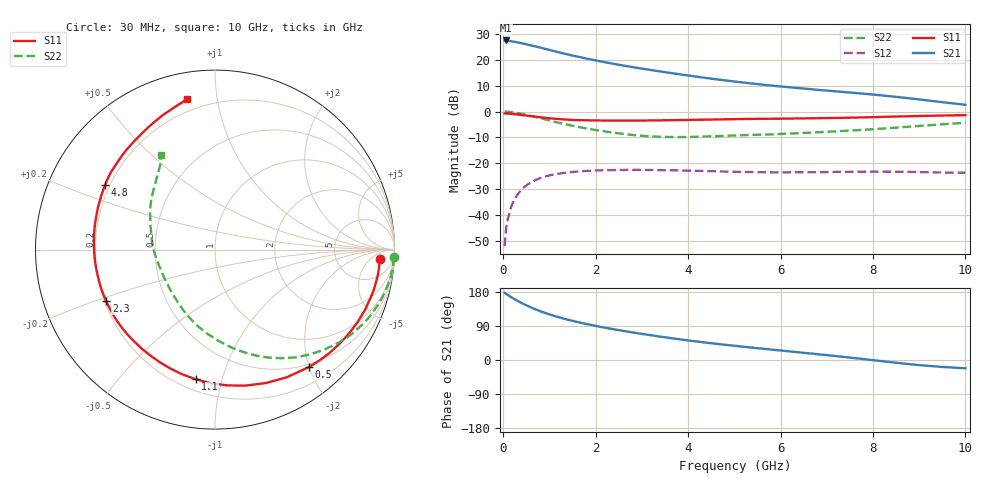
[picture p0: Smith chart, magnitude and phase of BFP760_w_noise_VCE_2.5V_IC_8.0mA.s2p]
! Infineon Technologies  Discrete & RF Semiconductors
! BFP760
! VCE =  2.5 V,  IC =  8.0 mA
! Common Emitter S-Parameters:  Nov 2012
# GHz  S  MA  R  50
!  f  S11  S21  S12  S22
! GHz  MAG  ANG  MAG  ANG  MAG  ANG  MAG  ANG
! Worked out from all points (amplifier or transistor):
!   99 points, 30 MHz to 10 GHz, reference 50 ohm
!   highest |S21| = 27.5 dB at 50 MHz (marker M1)
!   |S21| within 3 dB of that: start of sweep to 855 MHz
!   unconditionally stable (mu >= 1): 5.688 GHz to end of sweep
!   at 350 MHz: K = 0.10, MSG = 28.9 dB, |S12| = -31.1 dB
!   at 3.5 GHz: K = 0.61, MSG = 19.0 dB, |S12| = -22.7 dB
!   at 10 GHz: K = 1.21, MAG = 10.3 dB, |S12| = -23.6 dB
!   lowest NFmin = 0.46 dB at 900 MHz
!   S11 on the Smith chart (normalised r, x): 30 MHz: 16, -12; 500 MHz: 0.45, -1.99; 1.1 GHz: 0.27, -0.83; 2.3 GHz: 0.21, -0.22; 4.8 GHz: 0.18, +0.26; 10 GHz: 0.13, +0.82
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0.03  0.9216 -3.4  23.42 177.4  0.0025 94.4  0.9974 -2.5
0.05  0.919 -5.6  23.77 175.3  0.0042 82.6  0.996 -4.0
0.15  0.9086 -16.6  23.11 167.5  0.0126 81.4  0.9818 -11.9
0.25  0.8911 -27.1  22.35 160.1  0.0202 74.2  0.9557 -19.4
0.4  0.8591 -42.2  21.02 150.2  0.0311 66.0  0.9043 -29.8
0.5  0.8374 -51.5  20.05 144.3  0.0374 60.9  0.8665 -36.3
0.6  0.8162 -60.6  19.11 138.8  0.0428 56.3  0.8265 -42.3
0.8  0.7765 -77.4  17.33 128.8  0.0517 48.1  0.7482 -53.4
1  0.7445 -91.9  15.58 120.3  0.0584 41.2  0.674 -63.3
1.1  0.7302 -98.5  14.78 116.5  0.0611 38.2  0.64 -67.9
1.4  0.6989 -116.2  12.72 106.3  0.0666 30.8  0.5555 -80.1
1.7  0.6818 -131.2  11.11 97.6  0.0703 25.1  0.4897 -91.0
2.1  0.6735 -147.5  9.387 87.5  0.0731 18.6  0.4266 -105.1
2.3  0.6706 -154.6  8.681 83.1  0.0739 16.1  0.4012 -111.5
2.8  0.6701 -170.1  7.261 72.8  0.0745 10.8  0.3534 -127.5
3.4  0.6777 174.4  5.976 61.6  0.0739 6.0  0.3261 -146.3
4.1  0.6931 160.1  4.853 50.1  0.0719 2.1  0.3252 -165.3
4.8  0.71 149.7  4.015 40.2  0.0693 0.1  0.3401 -178.8
5.1  0.7171 146.2  3.733 36.3  0.0685 -0.3  0.3478 176.6
6.7  0.744 131.2  2.688 16.6  0.0673 -0.0  0.3941 156.2
8.5  0.8034 111.3  1.931 -7.3  0.0689 -3.4  0.4892 133.5
10  0.8547 100.5  1.356 -21.9  0.0659 -3.2  0.6075 119.7
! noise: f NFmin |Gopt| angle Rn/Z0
0.9  0.46  0.29  26  0.1
1.8  0.52  0.23  54  0.09
2.4  0.57  0.18  81  0.09
3.5  0.75  0.16  119  0.08
5.5  0.95  0.3  -146  0.08
8  1.43  0.42  -98  0.24
